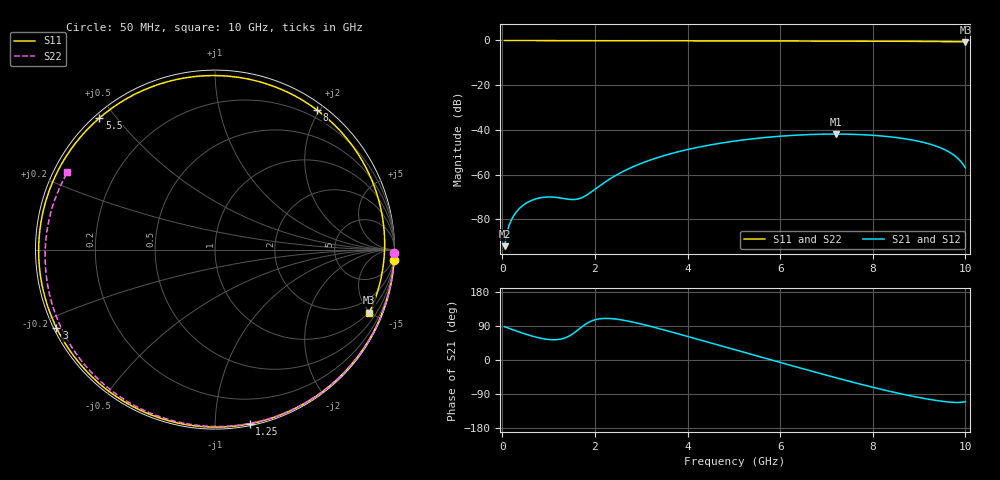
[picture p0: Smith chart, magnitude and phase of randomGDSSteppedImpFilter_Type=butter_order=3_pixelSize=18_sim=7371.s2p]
! freq	dB(S11)	phase(S11)	dB(S12)	phase(S12)
!  dB(S21)	phase(S21)	dB(S22)	phase(S22)
!S-par simulation data
#  GHz  S  DB  R 50
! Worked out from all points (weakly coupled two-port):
!   200 points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, 50 MHz to 10 GHz, reference 50 ohm
!   highest |S21| = -41.88 dB at 7.2 GHz (marker M1); lowest = -92.0 dB at 50 MHz (marker M2)
!   lowest |S11| = -0.6 dB at 10 GHz (marker M3), VSWR 27.12, Z = 47.8 - j245 ohm
!   |S11| at or under -10 dB: nowhere
!   |S22| runs from -0.6 to 0.0 dB; largest |S21 - S12| = 0
!   S11 on the Smith chart (normalised r, x): 50 MHz: 0, -33; 1.25 GHz: 0.01, -1.22; 3 GHz: 0.01, -0.23; 5.5 GHz: 0.01, +0.45; 8 GHz: 0.09, +1.97; 10 GHz: 0.96, -4.90
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0.05  -0.00 -3.5  -92.02 87.8  -92.02 87.8  -0.00 -1.1
0.2  -0.02 -13.7  -80.13 81.1  -80.13 81.1  -0.01 -4.5
0.4  -0.04 -27.1  -74.57 72.5  -74.57 72.5  -0.01 -9.1
0.65  -0.06 -43.3  -71.39 62.9  -71.39 62.9  -0.02 -14.7
0.95  -0.07 -61.7  -70.05 54.9  -70.05 54.9  -0.03 -21.3
1.25  -0.09 -78.8  -70.44 54.9  -70.44 54.9  -0.03 -28.0
1.55  -0.10 -94.4  -71.16 71.5  -71.16 71.5  -0.04 -34.6
1.75  -0.11 -104.1  -70.01 90.5  -70.01 90.5  -0.05 -39.0
2.35  -0.12 -129.9  -61.60 109.3  -61.60 109.3  -0.07 -51.9
3  -0.13 -153.8  -54.98 94.9  -54.98 94.9  -0.09 -65.5
3.4  -0.14 -167.0  -52.09 82.4  -52.09 82.4  -0.10 -73.7
4.2  -0.16 168.6  -47.89 55.4  -47.89 55.4  -0.13 -89.8
5.05  -0.19 144.1  -44.92 26.1  -44.92 26.1  -0.16 -106.4
5.5  -0.21 131.3  -43.78 10.7  -43.78 10.7  -0.19 -115.0
6.7  -0.26 95.9  -42.04 -30.1  -42.04 -30.1  -0.27 -138.0
7.2  -0.28 80.3  -41.88 -46.7  -41.88 -46.7  -0.31 -147.6
8  -0.32 53.9  -42.43 -71.9  -42.43 -71.9  -0.39 -163.5
8.35  -0.35 41.7  -43.05 -82.1  -43.05 -82.1  -0.43 -170.7
8.95  -0.41 19.7  -44.92 -97.8  -44.92 -97.8  -0.50 176.6
9.45  -0.49 0.4  -47.90 -108.1  -47.90 -108.1  -0.57 165.4
9.8  -0.58 -13.8  -52.08 -112.1  -52.08 -112.1  -0.62 157.2
10  -0.64 -22.3  -57.00 -109.9  -57.00 -109.9  -0.65 152.3
